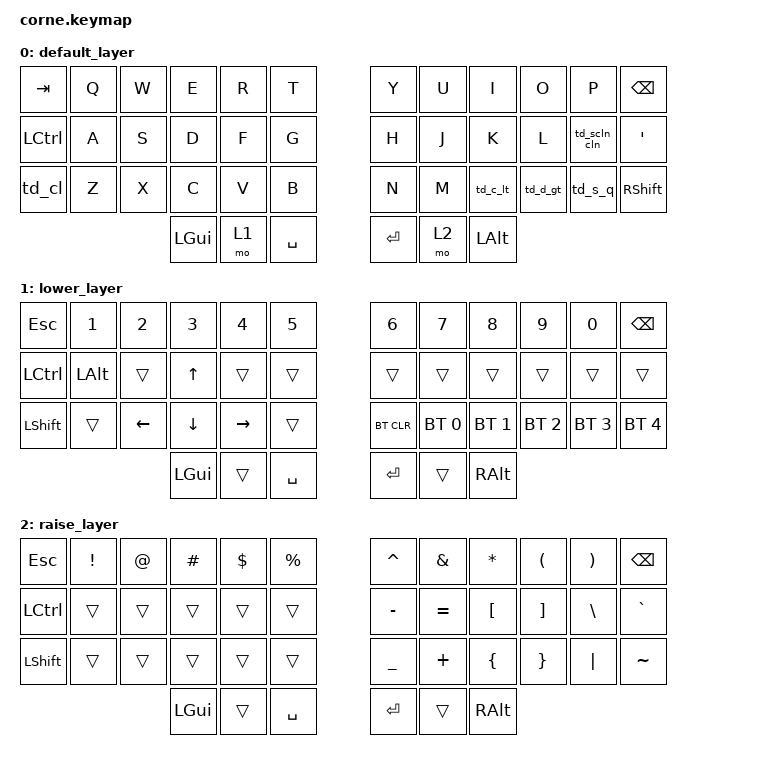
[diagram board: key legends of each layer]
/*
 * Copyright (c) 2020 The ZMK Contributors
 *
 * SPDX-License-Identifier: MIT
 */

#include <behaviors.dtsi>
#include <dt-bindings/zmk/keys.h>
#include <dt-bindings/zmk/bt.h>

/ {

        behaviors {
                td_cl: tap_dance_0 {
                        compatible = "zmk,behavior-tap-dance";
                        #binding-cells = <0>;
                        tapping-term-ms = <200>;
                        bindings = <&kp LSHIFT>, <&kp CAPSLOCK>;
                };
              
                td_scln_cln: tap_dance_1 {
                        compatible = "zmk,behavior-tap-dance";
                        #binding-cells = <0>;
                        tapping-term-ms = <200>;
                        bindings = <&kp SEMICOLON>, <&kp COLON>;
                };
                td_c_lt: tap_dance_2 {
                        compatible = "zmk,behavior-tap-dance";
                        #binding-cells = <0>;
                        tapping-term-ms = <200>;
                        bindings = <&kp COMMA>, <&kp LT>;
                };
                td_d_gt: tap_dance_3 {
                        compatible = "zmk,behavior-tap-dance";
                        #binding-cells = <0>;
                        tapping-term-ms = <200>;
                        bindings = <&kp DOT>, <&kp GT>;
                };
                td_s_q: tap_dance_4 {
                        compatible = "zmk,behavior-tap-dance";
                        #binding-cells = <0>;
                        tapping-term-ms = <200>;
                        bindings = <&kp SLASH>, <&kp QUESTION>;
                };

                

        };
        keymap {
                compatible = "zmk,keymap";

                default_layer {
// -----------------------------------------------------------------------------------------
// |  TAB |  Q  |  W  |  E  |  R  |  T  |   |  Y  |  U   |  I  |  O  |  P  | BSPC |
// | CTRL |  A  |  S  |  D  |  F  |  G  |   |  H  |  J   |  K  |  L  |  ;:  |  '   |
// | SHFT_CAPS |  Z  |  X  |  C  |  V  |  B  |   |  N  |  M   |  ,<  |  .>  |  /?  | RTSHIFT  |
//                    | GUI | LWR | SPC |   | ENT | RSE  | ALT |
                        bindings = <
   &kp TAB   &kp Q &kp W &kp E &kp R &kp T   &kp Y &kp U  &kp I     &kp O   &kp P    &kp BSPC
   &kp LCTRL &kp A &kp S &kp D &kp F &kp G   &kp H &kp J  &kp K     &kp L   &td_scln_cln &kp SQT
   &td_cl &kp Z &kp X &kp C &kp V &kp B   &kp N &kp M  &td_c_lt &td_d_gt &td_s_q &kp RSHIFT
                  &kp LGUI &mo 1 &kp SPACE      &kp ENTER &mo 2 &kp LALT
                        >;
                };
                lower_layer {
// -----------------------------------------------------------------------------------------
// |  ESC |  1  |  2  |  3  |  4  |  5  |   |  6  |  7  |  8  |  9  |  0  | BSPC |
// |LCTRL |LALT |     |  UP |     |     |   |     |     |     |     |     |      |
// |LSHFT |     | LFT | DWN | RGT |     |   |BTCLR| BT1 | BT2 | BT3 | BT4 | BT5  |
//                    | GUI |     | SPC |   | ENT |     | ALT |
                        bindings = <
   &kp ESC    &kp N1       &kp N2       &kp N3       &kp N4       &kp N5         &kp N6   &kp N7   &kp N8 &kp N9    &kp N0 &kp BSPC
   &kp LCTRL  &kp LALT       &trans       &kp UP       &trans       &trans  &trans       &trans &trans       &trans &trans &trans
   &kp LSHFT  &trans       &kp LEFT       &kp DOWN       &kp RIGHT       &trans         &bt BT_CLR   &bt BT_SEL 0 &bt BT_SEL 1 &bt BT_SEL 2 &bt BT_SEL 3 &bt BT_SEL 4
                                    &kp LGUI     &trans       &kp SPACE      &kp RET  &trans   &kp RALT
                        >;

                };
                raise_layer {
// -----------------------------------------------------------------------------------------
// |  ESC |  !  |  @  |  #  |  $  |  %  |   |  ^  |  &  |  *  |  (  |  )  | BSPC |
// | CTRL |     |     |     |     |     |   |  -  |  =  |  [  |  ]  |  \  |  `   |
// | SHFT |     |     |     |     |     |   |  _  |  +  |  {  |  }  | "|" |  ~   |
//                    | GUI |     | SPC |   | ENT |     | ALT |
                        bindings = <
   &kp ESC  &kp EXCL &kp AT &kp HASH &kp DLLR &kp PRCNT   &kp CARET &kp AMPS  &kp ASTRK &kp LPAR &kp RPAR &kp BSPC
   &kp LCTRL &trans   &trans &trans   &trans   &trans      &kp MINUS &kp EQUAL &kp LBKT  &kp RBKT &kp BSLH &kp GRAVE
   &kp LSHFT &trans   &trans &trans   &trans   &trans      &kp UNDER &kp PLUS  &kp LBRC  &kp RBRC &kp PIPE &kp TILDE
                             &kp LGUI &trans   &kp SPACE   &kp RET   &trans    &kp RALT
                        >;
                };
        };
};
